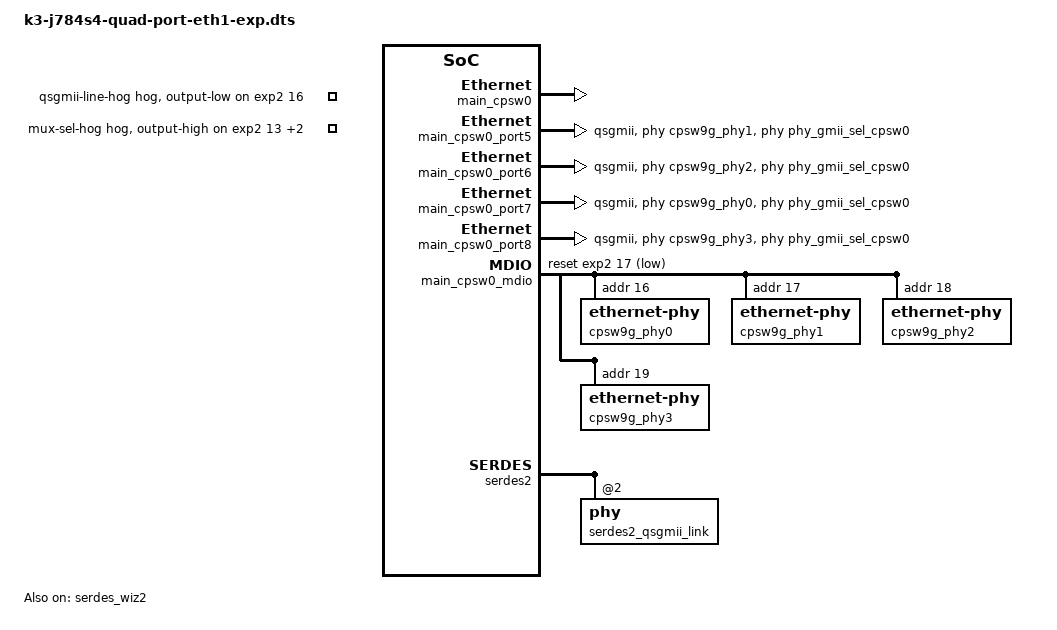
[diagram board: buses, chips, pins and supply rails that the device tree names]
// SPDX-License-Identifier: GPL-2.0
/**
 * DT Overlay for CPSW9G in QSGMII mode using J7 Quad Port ETH EXP Add-On Ethernet Card with
 * J7AHP board.
 *
 * Copyright (C) 2022 Texas Instruments Incorporated - https://www.ti.com/
 */

/dts-v1/;
/plugin/;

#include <dt-bindings/gpio/gpio.h>
#include <dt-bindings/mux/ti-serdes.h>
#include <dt-bindings/phy/phy-cadence.h>
#include <dt-bindings/phy/phy.h>
#include <dt-bindings/pinctrl/k3.h>

/ {
	fragment@101 {
		target-path = "/";
		__overlay__ {
			aliases {
				ethernet1 = "/bus@100000/ethernet@c000000/ethernet-ports/port@5";
				ethernet2 = "/bus@100000/ethernet@c000000/ethernet-ports/port@6";
				ethernet3 = "/bus@100000/ethernet@c000000/ethernet-ports/port@7";
				ethernet4 = "/bus@100000/ethernet@c000000/ethernet-ports/port@8";
			};
		};
	};
};

&main_cpsw0 {
	status = "okay";
	pinctrl-names = "default";
	pinctrl-0 = <&mdio_pins_default>;
};

&main_cpsw0_port5 {
	status = "okay";
	phy-handle = <&cpsw9g_phy1>;
	phy-mode = "qsgmii";
	mac-address = [00 00 00 00 00 00];
	phys = <&phy_gmii_sel_cpsw0 5>, <&serdes2_qsgmii_link>;
	phy-names = "portmode", "serdes-phy";
};

&main_cpsw0_port6 {
	status = "okay";
	phy-handle = <&cpsw9g_phy2>;
	phy-mode = "qsgmii";
	mac-address = [00 00 00 00 00 00];
	phys = <&phy_gmii_sel_cpsw0 6>, <&serdes2_qsgmii_link>;
	phy-names = "portmode", "serdes-phy";
};

&main_cpsw0_port7 {
	status = "okay";
	phy-handle = <&cpsw9g_phy0>;
	phy-mode = "qsgmii";
	mac-address = [00 00 00 00 00 00];
	phys = <&phy_gmii_sel_cpsw0 7>, <&serdes2_qsgmii_link>;
	phy-names = "portmode", "serdes-phy";
};

&main_cpsw0_port8 {
	status = "okay";
	phy-handle = <&cpsw9g_phy3>;
	phy-mode = "qsgmii";
	mac-address = [00 00 00 00 00 00];
	phys = <&phy_gmii_sel_cpsw0 8>, <&serdes2_qsgmii_link>;
	phy-names = "portmode", "serdes-phy";
};

&main_cpsw0_mdio {
	bus_freq = <1000000>;
	reset-gpios = <&exp2 17 GPIO_ACTIVE_LOW>;
	reset-post-delay-us = <120000>;
	#address-cells = <1>;
	#size-cells = <0>;

	cpsw9g_phy0: ethernet-phy@16 {
		reg = <16>;
	};
	cpsw9g_phy1: ethernet-phy@17 {
		reg = <17>;
	};
	cpsw9g_phy2: ethernet-phy@18 {
		reg = <18>;
	};
	cpsw9g_phy3: ethernet-phy@19 {
		reg = <19>;
	};
};

&cpsw9g_virt_mac {
	status = "disabled";
};

&cpsw9g_virt_maconly {
	status = "disabled";
};

&exp2 {
		/* Power-up ENET1 EXPANDER PHY. */
		qsgmii-line-hog {
			gpio-hog;
			gpios = <16 GPIO_ACTIVE_HIGH>;
			output-low;
		};
		/* Toggle MUX2 for MDIO lines */
		mux-sel-hog {
			gpio-hog;
			gpios = <13 GPIO_ACTIVE_HIGH>, <14 GPIO_ACTIVE_HIGH>, <15 GPIO_ACTIVE_HIGH>;
			output-high;
		};

};

&main_pmx0 {
	mdio_pins_default: mdio_pins_default {
		pinctrl-single,pins = <
			J784S4_IOPAD(0x05c, PIN_INPUT, 4) /* (AC36) MCASP2_AXR0.MDIO1_MDIO */
			J784S4_IOPAD(0x058, PIN_INPUT, 4) /* (AE37) MCASP2_AFSX.MDIO1_MDC */
		>;
	};
};

&main_r5fss0_core0 {
	firmware-name = "pdk-ipc/ipc_echo_test_mcu2_0_release_strip.xer5f";
};

&serdes_ln_ctrl {
	idle-states = <J784S4_SERDES0_LANE0_PCIE1_LANE0>, <J784S4_SERDES0_LANE1_PCIE1_LANE1>,
		      <J784S4_SERDES0_LANE2_IP3_UNUSED>, <J784S4_SERDES0_LANE3_USB>,
		      <J784S4_SERDES1_LANE0_PCIE0_LANE0>, <J784S4_SERDES1_LANE1_PCIE0_LANE1>,
		      <J784S4_SERDES1_LANE2_PCIE0_LANE2>, <J784S4_SERDES1_LANE3_PCIE0_LANE3>,
		      <J784S4_SERDES2_LANE0_QSGMII_LANE5>, <J784S4_SERDES2_LANE1_QSGMII_LANE6>,
		      <J784S4_SERDES2_LANE2_QSGMII_LANE7>, <J784S4_SERDES2_LANE3_QSGMII_LANE8>;
};

&serdes_wiz2 {
	status = "okay";
};

&serdes2 {
	status = "okay";
	serdes2_qsgmii_link: phy@0 {
		reg = <2>;
		cdns,num-lanes = <1>;
		#phy-cells = <0>;
		cdns,phy-type = <PHY_TYPE_QSGMII>;
		resets =<&serdes_wiz2 3>;
	};
};
